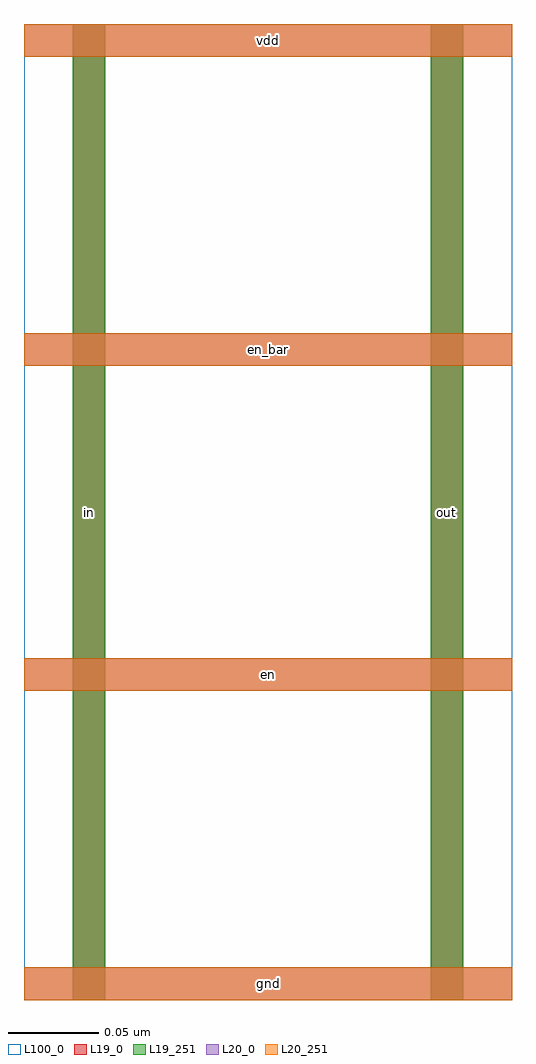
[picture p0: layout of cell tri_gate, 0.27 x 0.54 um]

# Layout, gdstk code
import gdstk
lib = gdstk.Library(unit=1e-6, precision=2.5e-10)
def R(c, l, rs):  # rectangles x0, y0, x1, y1
    for r in rs: c.add(gdstk.rectangle(r[:2], r[2:], *l))
L19_0 = (19, 0)
L19_251 = (19, 251)
L20_0 = (20, 0)
L20_251 = (20, 251)
L100_0 = (100, 0)

tri_gate = lib.new_cell('tri_gate')
R(tri_gate, L19_0, [(0.027,0,0.045,0.54), (0.225,0,0.243,0.54)])
R(tri_gate, L19_251, [(0.027,0,0.045,0.54), (0.225,0,0.243,0.54)])
R(tri_gate, L20_0, [(0,0,0.27,0.018), (0,0.171,0.27,0.189), (0,0.351,0.27,0.369), (0,0.522,0.27,0.54)])
R(tri_gate, L20_251, [(0,0,0.27,0.018), (0,0.171,0.27,0.189), (0,0.351,0.27,0.369), (0,0.522,0.27,0.54)])
R(tri_gate, L100_0, [(0,0,0.27,0.54)])
tri_gate.add(gdstk.Label('in', (0.036,0.27), layer=19, texttype=251))
tri_gate.add(gdstk.Label('out', (0.234,0.27), layer=19, texttype=251))
tri_gate.add(gdstk.Label('gnd', (0.135,0.009), layer=20, texttype=251))
tri_gate.add(gdstk.Label('en', (0.135,0.18), layer=20, texttype=251))
tri_gate.add(gdstk.Label('en_bar', (0.135,0.36), layer=20, texttype=251))
tri_gate.add(gdstk.Label('vdd', (0.135,0.531), layer=20, texttype=251))

lib.write_gds('tri_gate.gds')
